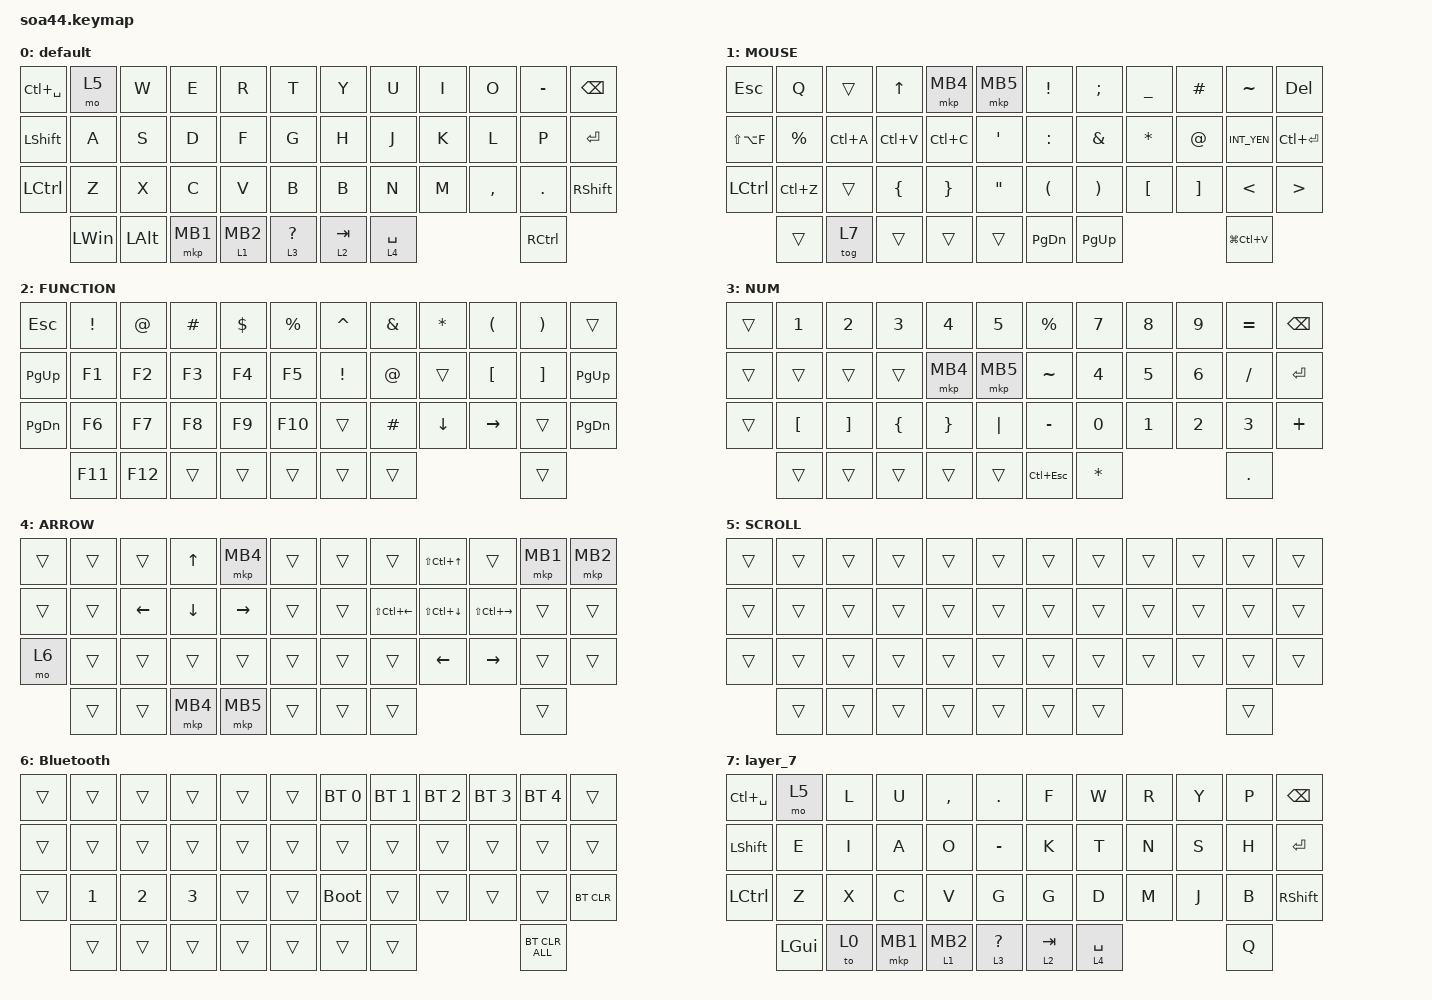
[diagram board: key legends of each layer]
#include <behaviors.dtsi>
#include <dt-bindings/zmk/bt.h>
#include <dt-bindings/zmk/keys.h>
#include <dt-bindings/zmk/pointing.h>

&mt {
    flavor = "balanced";
    quick-tap-ms = <0>;
};

/ {
    combos {
        compatible = "zmk,combos";

        tab {
            bindings = <&kp TAB>;
            key-positions = <11 12>;
        };

        shift_tab {
            bindings = <&kp LS(TAB)>;
            key-positions = <12 13>;
        };

        muhennkann {
            bindings = <&to_layer_0 INT_MUHENKAN>;
            key-positions = <32 33>;
        };

        double_quotation {
            bindings = <&kp DOUBLE_QUOTES>;
            key-positions = <20 21>;
        };

        eq {
            bindings = <&kp EQUAL>;
            key-positions = <24 25>;
        };
    };

    macros {
        to_layer_0: to_layer_0 {
            compatible = "zmk,behavior-macro-one-param";
            #binding-cells = <1>;
            bindings = <&to 0 &macro_param_1to1 &kp MACRO_PLACEHOLDER>;
            label = "TO_LAYER_0";
        };

        to_eisu: to_eisu {
            compatible = "zmk,behavior-macro";
            #binding-cells = <0>;
            label = "TO_EISU";
            bindings = <&kp LC(SPACE)>;
        };

        to_kana: to_kana {
            compatible = "zmk,behavior-macro";
            #binding-cells = <0>;
            label = "TO_KANA";
            bindings = <&kp LANG1>;
        };
    };

    behaviors {
        scroll_hold: scroll_hold {
            compatible = "zmk,behavior-hold-tap";
            label = "SCROLL_HOLD";
            #binding-cells = <2>;
            flavor = "tap-preferred";
            tapping-term-ms = <200>;
            bindings = <&mo>, <&kp>;
        };

        rmclk: layer_mouse_right_click {
            compatible = "zmk,behavior-hold-tap";
            label = "LAYER_MOUSE_RIGHT_CLICK";
            #binding-cells = <2>;
            flavor = "tap-preferred";
            tapping-term-ms = <200>;
            bindings = <&mo>, <&mkp>;
        };

        zenhan_td: zenhan_tap_dance {
            compatible = "zmk,behavior-tap-dance";
            label = "ZENHAN_TAP_DANCE";
            #binding-cells = <0>;
            tapping-term-ms = <300>;
            bindings = <&kp LANG1>, <&kp LANG2>;
        };
    };

    keymap {
        compatible = "zmk,keymap";

        default {
            bindings = <
&kp LC(SPACE)   &mo 5         &kp W         &kp E     &kp R         &kp T           &kp Y      &kp U        &kp I  &kp O      &kp MINUS  &kp BACKSPACE
&kp LEFT_SHIFT  &kp A         &kp S         &kp D     &kp F         &kp G           &kp H      &kp J        &kp K  &kp L      &kp P      &kp ENTER
&kp LCTRL       &kp Z         &kp X         &kp C     &kp V         &kp B           &kp B      &kp N        &kp M  &kp COMMA  &kp DOT    &kp RIGHT_SHIFT
                &kp LEFT_WIN  &kp LEFT_ALT  &mkp MB1  &rmclk 1 MB2  &lt 3 QUESTION  &lt 2 TAB  &lt 4 SPACE                    &kp RCTRL
            >;
        };

        MOUSE {
            bindings = <
&kp ESCAPE     &kp Q      &trans     &kp UP          &mkp MB4         &mkp MB5           &kp EXCLAMATION       &kp SEMICOLON          &kp UNDERSCORE    &kp HASH           &kp TILDE      &kp DEL
&kp LS(LA(F))  &kp PRCNT  &kp LC(A)  &kp LC(V)       &kp LC(C)        &kp SINGLE_QUOTE   &kp COLON             &kp AMPERSAND          &kp ASTERISK      &kp AT_SIGN        &kp INT_YEN    &kp LC(ENTER)
&kp LCTRL      &kp LC(Z)  &trans     &kp LEFT_BRACE  &kp RIGHT_BRACE  &kp DOUBLE_QUOTES  &kp LEFT_PARENTHESIS  &kp RIGHT_PARENTHESIS  &kp LEFT_BRACKET  &kp RIGHT_BRACKET  &kp LESS_THAN  &kp GREATER_THAN
               &trans     &tog 7     &trans          &trans           &trans             &kp PAGE_DOWN         &kp PAGE_UP                                                 &kp LG(LC(V))
            >;
        };

        FUNCTION {
            bindings = <
&kp ESCAPE     &kp EXCLAMATION  &kp AT_SIGN  &kp HASH  &kp DOLLAR  &kp PERCENT  &kp CARET        &kp AMPERSAND  &kp ASTERISK  &kp LEFT_PARENTHESIS  &kp RIGHT_PARENTHESIS  &trans
&kp PG_UP      &kp F1           &kp F2       &kp F3    &kp F4      &kp F5       &kp EXCLAMATION  &kp AT_SIGN    &trans        &kp LEFT_BRACKET      &kp RIGHT_BRACKET      &kp PAGE_UP
&kp PAGE_DOWN  &kp F6           &kp F7       &kp F8    &kp F9      &kp F10      &trans           &kp HASH       &kp DOWN      &kp RIGHT             &trans                 &kp PAGE_DOWN
               &kp F11          &kp F12      &trans    &trans      &trans       &trans           &trans                                             &trans
            >;
        };

        NUM {
            bindings = <
&trans  &kp N1            &kp N2             &kp N3          &kp N4           &kp N5    &kp PRCNT    &kp NUMBER_7  &kp NUMBER_8  &kp NUMBER_9  &kp EQUAL     &kp BACKSPACE
&trans  &trans            &trans             &trans          &mkp MB4         &mkp MB5  &kp TILDE    &kp NUMBER_4  &kp NUMBER_5  &kp NUMBER_6  &kp SLASH     &kp ENTER
&trans  &kp LEFT_BRACKET  &kp RIGHT_BRACKET  &kp LEFT_BRACE  &kp RIGHT_BRACE  &kp PIPE  &kp MINUS    &kp NUMBER_0  &kp NUMBER_1  &kp NUMBER_2  &kp NUMBER_3  &kp PLUS
        &trans            &trans             &trans          &trans           &trans    &kp LC(ESC)  &kp ASTRK                                 &kp DOT
            >;
        };

        ARROW {
            bindings = <
&trans  &trans  &trans    &kp UP    &mkp MB4   &trans  &trans  &trans            &kp LS(LC(UP))    &trans             &mkp MB1  &mkp MB2
&trans  &trans  &kp LEFT  &kp DOWN  &kp RIGHT  &trans  &trans  &kp LS(LC(LEFT))  &kp LS(LC(DOWN))  &kp LS(LC(RIGHT))  &trans    &trans
&mo 6   &trans  &trans    &trans    &trans     &trans  &trans  &trans            &kp LEFT          &kp RIGHT          &trans    &trans
        &trans  &trans    &mkp MB4  &mkp MB5   &trans  &trans  &trans                                                 &trans
            >;
        };

        SCROLL {
            bindings = <
&trans  &trans  &trans  &trans  &trans  &trans  &trans  &trans  &trans  &trans  &trans  &trans
&trans  &trans  &trans  &trans  &trans  &trans  &trans  &trans  &trans  &trans  &trans  &trans
&trans  &trans  &trans  &trans  &trans  &trans  &trans  &trans  &trans  &trans  &trans  &trans
        &trans  &trans  &trans  &trans  &trans  &trans  &trans                  &trans
            >;
        };

        Bluetooth {
            bindings = <
&trans  &trans        &trans        &trans        &trans  &trans  &bt BT_SEL 0  &bt BT_SEL 1  &bt BT_SEL 2  &bt BT_SEL 3  &bt BT_SEL 4    &trans
&trans  &trans        &trans        &trans        &trans  &trans  &trans        &trans        &trans        &trans        &trans          &trans
&trans  &kp NUMBER_1  &kp NUMBER_2  &kp NUMBER_3  &trans  &trans  &bootloader   &trans        &trans        &trans        &trans          &bt BT_CLR
        &trans        &trans        &trans        &trans  &trans  &trans        &trans                                    &bt BT_CLR_ALL
            >;
        };

        layer_7 {
            bindings = <
&kp LC(SPACE)  &mo 5     &kp L  &kp U     &kp COMMA     &kp DOT         &kp F      &kp W        &kp R  &kp Y  &kp P  &kp BSPC
&kp LSHFT      &kp E     &kp I  &kp A     &kp O         &kp MINUS       &kp K      &kp T        &kp N  &kp S  &kp H  &kp ENTER
&kp LCTRL      &kp Z     &kp X  &kp C     &kp V         &kp G           &kp G      &kp D        &kp M  &kp J  &kp B  &kp RSHFT
               &kp LGUI  &to 0  &mkp MB1  &rmclk 1 MB2  &lt 3 QUESTION  &lt 2 TAB  &lt 4 SPACE                &kp Q
            >;
        };
    };
};
